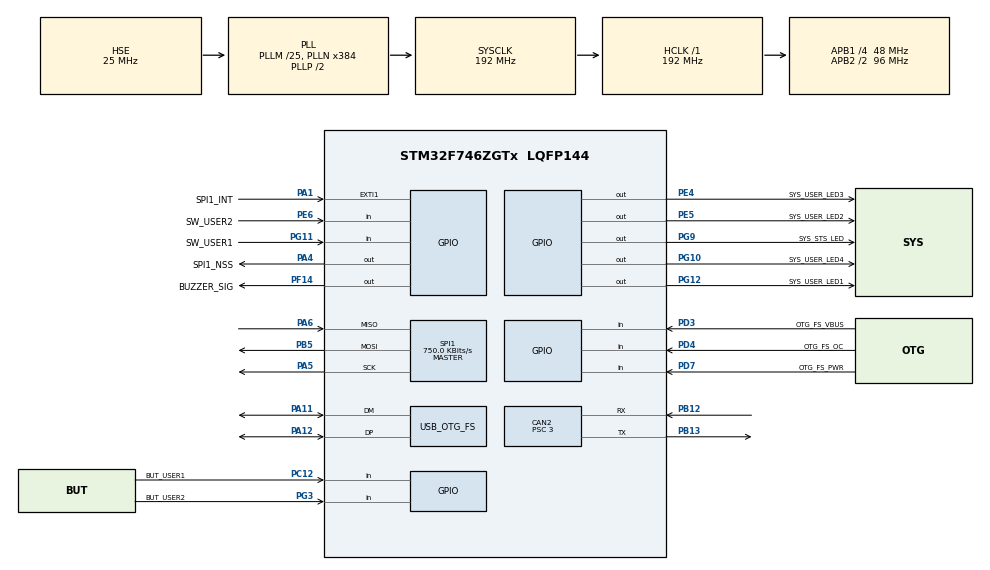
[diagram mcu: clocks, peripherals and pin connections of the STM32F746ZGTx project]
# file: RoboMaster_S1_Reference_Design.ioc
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CAN2.BS1=CAN_BS1_13TQ
CAN2.BS2=CAN_BS2_2TQ
CAN2.CalculateTimeQuantum=62.5
CAN2.Prescaler=3
CAN2.TXFP=ENABLE
Dma.Request0=SPI1_RX
Dma.Request1=SPI1_TX
Dma.SPI1_RX.0.Direction=DMA_PERIPH_TO_MEMORY
Dma.SPI1_RX.0.FIFOMode=DMA_FIFOMODE_ENABLE
Dma.SPI1_RX.0.FIFOThreshold=DMA_FIFO_THRESHOLD_FULL
Dma.SPI1_RX.0.Instance=DMA2_Stream0
Dma.SPI1_RX.0.MemBurst=DMA_MBURST_SINGLE
Dma.SPI1_RX.0.MemDataAlignment=DMA_MDATAALIGN_BYTE
Dma.SPI1_RX.0.MemInc=DMA_MINC_ENABLE
Dma.SPI1_RX.0.Mode=DMA_NORMAL
Dma.SPI1_RX.0.PeriphBurst=DMA_PBURST_SINGLE
Dma.SPI1_RX.0.PeriphDataAlignment=DMA_PDATAALIGN_BYTE
Dma.SPI1_RX.0.PeriphInc=DMA_PINC_DISABLE
Dma.SPI1_RX.0.Priority=DMA_PRIORITY_LOW
Dma.SPI1_TX.1.Direction=DMA_MEMORY_TO_PERIPH
Dma.SPI1_TX.1.FIFOMode=DMA_FIFOMODE_ENABLE
Dma.SPI1_TX.1.FIFOThreshold=DMA_FIFO_THRESHOLD_FULL
Dma.SPI1_TX.1.Instance=DMA2_Stream3
Dma.SPI1_TX.1.MemBurst=DMA_MBURST_SINGLE
Dma.SPI1_TX.1.MemDataAlignment=DMA_MDATAALIGN_BYTE
Dma.SPI1_TX.1.MemInc=DMA_MINC_ENABLE
Dma.SPI1_TX.1.Mode=DMA_NORMAL
Dma.SPI1_TX.1.PeriphBurst=DMA_PBURST_SINGLE
Dma.SPI1_TX.1.PeriphDataAlignment=DMA_PDATAALIGN_BYTE
Dma.SPI1_TX.1.PeriphInc=DMA_PINC_DISABLE
Dma.SPI1_TX.1.Priority=DMA_PRIORITY_LOW
Mcu.Family=STM32F7
Mcu.Name=STM32F746ZGTx
Mcu.Package=LQFP144
NVIC.DMA2_Stream0_IRQn=true\:0\:0\:false\:false\:true\:false\:true
NVIC.DMA2_Stream3_IRQn=true\:0\:0\:false\:false\:true\:false\:true
NVIC.OTG_FS_IRQn=true\:0\:0\:false\:false\:true\:false\:true
NVIC.PriorityGroup=NVIC_PRIORITYGROUP_4
NVIC.TIM1_UP_TIM10_IRQn=true\:0\:0\:false\:false\:true\:false\:true
NVIC.TIM2_IRQn=true\:0\:0\:false\:false\:true\:true\:true
NVIC.TimeBase=TIM1_UP_TIM10_IRQn
NVIC.TimeBaseIP=TIM10
PA1.GPIO_Label=SPI1_INT
PA1.Signal=GPXTI1
PA10.Signal=USB_OTG_FS_ID
PA11.Mode=Device_Only
PA11.Signal=USB_OTG_FS_DM
PA12.Mode=Device_Only
PA12.Signal=USB_OTG_FS_DP
PA13.Mode=Serial_Wire
PA13.Signal=SYS_JTMS-SWDIO
PA14.Mode=Serial_Wire
PA14.Signal=SYS_JTCK-SWCLK
PA15.Signal=SYS_JTDI
PA4.GPIO_Label=SPI1_NSS
PA4.Signal=GPIO_Output
PA5.Mode=Full_Duplex_Master
PA5.Signal=SPI1_SCK
PA6.Mode=Full_Duplex_Master
PA6.Signal=SPI1_MISO
PB12.Mode=Slave
PB12.Signal=CAN2_RX
PB13.Mode=Slave
PB13.Signal=CAN2_TX
PB3.Signal=SYS_JTDO-SWO
PB5.Mode=Full_Duplex_Master
PB5.Signal=SPI1_MOSI
PC12.GPIO_Label=BUT_USER1
PC12.Signal=GPIO_Input
PC14/OSC32_IN.Mode=LSE-External-Oscillator
PC14/OSC32_IN.Signal=RCC_OSC32_IN
PC15/OSC32_OUT.Mode=LSE-External-Oscillator
PC15/OSC32_OUT.Signal=RCC_OSC32_OUT
PD3.GPIO_Label=OTG_FS_VBUS
PD3.Signal=GPIO_Input
PD4.GPIO_Label=OTG_FS_OC
PD4.Signal=GPIO_Input
PD7.GPIO_Label=OTG_FS_PWR
PD7.Signal=GPIO_Input
PE4.GPIO_Label=SYS_USER_LED3
PE4.Signal=GPIO_Output
PE5.GPIO_Label=SYS_USER_LED2
PE5.GPIO_PuPd=GPIO_PULLUP
PE5.Signal=GPIO_Output
PE6.GPIO_Label=SW_USER2
PE6.Signal=GPIO_Input
PF14.GPIO_Label=BUZZER_SIG
PF14.Signal=GPIO_Output
PG10.GPIO_Label=SYS_USER_LED4
PG10.Signal=GPIO_Output
PG11.GPIO_Label=SW_USER1
PG11.Signal=GPIO_Input
PG12.GPIO_Label=SYS_USER_LED1
PG12.GPIO_ModeDefaultOutputPP=GPIO_MODE_OUTPUT_PP
PG12.GPIO_PuPd=GPIO_PULLUP
PG12.Signal=GPIO_Output
PG3.GPIO_Label=BUT_USER2
PG3.Signal=GPIO_Input
PG9.GPIO_Label=SYS_STS_LED
PG9.Signal=GPIO_Output
PH0/OSC_IN.Mode=HSE-External-Oscillator
PH0/OSC_IN.Signal=RCC_OSC_IN
PH1/OSC_OUT.Mode=HSE-External-Oscillator
PH1/OSC_OUT.Signal=RCC_OSC_OUT
ProjectManager.HeapSize=0x200
ProjectManager.StackSize=0x400
ProjectManager.TargetToolchain=STM32CubeIDE
RCC.AHBFreq_Value=192000000
RCC.APB1CLKDivider=RCC_HCLK_DIV4
RCC.APB1Freq_Value=48000000
RCC.APB1TimFreq_Value=96000000
RCC.APB2CLKDivider=RCC_HCLK_DIV2
RCC.APB2Freq_Value=96000000
RCC.APB2TimFreq_Value=192000000
RCC.CortexFreq_Value=192000000
RCC.HCLKFreq_Value=192000000
RCC.HSE_VALUE=25000000
RCC.HSI_VALUE=16000000
RCC.PLLM=25
RCC.PLLN=384
RCC.PLLQ=8
RCC.SYSCLKFreq_VALUE=192000000
RCC.SYSCLKSource=RCC_SYSCLKSOURCE_PLLCLK
RCC.USBFreq_Value=48000000
RCC.VCOOutputFreq_Value=384000000
SPI1.BaudRatePrescaler=SPI_BAUDRATEPRESCALER_128
SPI1.CalculateBaudRate=750.0 KBits/s
SPI1.DataSize=SPI_DATASIZE_8BIT
SPI1.Direction=SPI_DIRECTION_2LINES
SPI1.Mode=SPI_MODE_MASTER
SPI1.NSSPMode=SPI_NSS_PULSE_ENABLE
SPI1.VirtualType=VM_MASTER
TIM2.Period=1000-1
TIM2.Prescaler=96-1
USB_DEVICE.CLASS_NAME_FS=CDC
USB_DEVICE.VirtualMode-CDC_FS=Cdc
USB_DEVICE.VirtualModeFS=Cdc_FS
USB_OTG_FS.VirtualMode=Device_Only
VP_SYS_VS_tim10.Mode=TIM10
VP_TIM2_VS_ClockSourceINT.Mode=Internal
VP_USB_DEVICE_VS_USB_DEVICE_CDC_FS.Mode=CDC_FS
board=custom

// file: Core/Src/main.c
/* USER CODE BEGIN Header */
/**
  ******************************************************************************
  * @file           : main.c
  * @brief          : Main program body
  ******************************************************************************
  * @attention
  *
  * <h2><center>&copy; Copyright (c) 2019 STMicroelectronics.
  * All rights reserved.</center></h2>
  *
  * This software component is licensed by ST under BSD 3-Clause license,
  * the "License"; You may not use this file except in compliance with the
  * License. You may obtain a copy of the License at:
  *                        opensource.org/licenses/BSD-3-Clause
  *
  ******************************************************************************
  */
/* USER CODE END Header */

#include "main.h"
#include "usb_device.h"

/* USER CODE BEGIN Includes */
#include "string.h"
#include "robomaster_s1.h"
#include <pb_encode.h>
#include <pb_decode.h>
#include "command.pb.h"

/* USER CODE END Includes */

/* USER CODE BEGIN PD */
#define APP_RX_DATA_SIZE  2048
/* USER CODE END PD */

CAN_HandleTypeDef hcan2;

SPI_HandleTypeDef hspi1;
DMA_HandleTypeDef hdma_spi1_rx;
DMA_HandleTypeDef hdma_spi1_tx;

TIM_HandleTypeDef htim2;

/* USER CODE BEGIN PV */

uint8_t timer10sec_flag;
uint32_t timer10sec_counter;
uint8_t timer1sec_flag;
uint32_t timer1sec_counter;
uint8_t timer100msec_flag;
uint32_t timer100msec_counter;
uint8_t timer10msec_flag;
uint32_t timer10msec_counter;
uint8_t timer1msec_flag;
uint32_t timer1msec_counter;

CAN_TxHeaderTypeDef TxHeader2;
CAN_RxHeaderTypeDef RxHeader2;
uint8_t TxData2[8];
uint8_t RxData2[8];
uint32_t TxMailbox2;
uint32_t RxMailbox2;

volatile CANRxMsg rx_msg_buffer2[BUFFER_SIZE];
volatile int buffer_rp2;
volatile int buffer_wp2;

const uint8_t can_command_0x201[26][81] = {
#include "command_list.csv"
};

extern uint8_t*  usb_rBuf;
extern int  usb_rBuf_wp;
extern int  usb_rBuf_rp;

double base_odom_yaw;

double gimbal_base_yaw_angle;
double gimbal_map_yaw_angle;
double gimbal_base_pitch_angle;
double gimbal_map_pitch_angle;
/* USER CODE END PV */

void SystemClock_Config(void);
static void MX_GPIO_Init(void);
static void MX_TIM2_Init(void);
static void MX_CAN2_Init(void);
static void MX_SPI1_Init(void);
static void MX_DMA_Init(void);
/* USER CODE BEGIN PFP */
static void CAN_FilterConfig(void);
extern int parseCanData(uint8_t id, uint8_t *in_data, uint8_t in_data_size, uint8_t out_data[], uint8_t *out_data_size);
extern twist parseTwistCommandData(uint8_t* in_data, uint8_t in_data_size);
/* USER CODE END PFP */

int main(void)
{

  /* MCU Configuration--------------------------------------------------------*/

  /* Reset of all peripherals, Initializes the Flash interface and the Systick. */
  HAL_Init();

  /* Configure the system clock */
  SystemClock_Config();

  /* Initialize all configured peripherals */
  MX_GPIO_Init();
  MX_TIM2_Init();
  MX_CAN2_Init();
  MX_SPI1_Init();
  MX_DMA_Init();
  MX_USB_DEVICE_Init();
  /* USER CODE BEGIN 2 */
  HAL_TIM_Base_Start_IT(&htim2);

  /* Configure the CAN peripheral */
  CAN_FilterConfig();

  /*## Start the CAN peripheral ###########################################*/
  if (HAL_CAN_Start(&hcan2) != HAL_OK)
  {
    /* Start Error */
    Error_Handler();
  }

  /*## Activate CAN RX notification #######################################*/
  if (HAL_CAN_ActivateNotification(&hcan2, CAN_IT_RX_FIFO1_MSG_PENDING) != HAL_OK)
  {
    /* Notification Error */
    Error_Handler();
  }
  if (HAL_CAN_ActivateNotification(&hcan2, CAN_IT_RX_FIFO1_FULL) != HAL_OK)
  {
    /* Notification Error */
    Error_Handler();
  }

  /* USER CODE END 2 */

  /* Infinite loop */
  /* USER CODE BEGIN WHILE */
  usb_rBuf_wp = 0;
  usb_rBuf_rp = 0;
  buffer_rp2 = 0;
  buffer_wp2 = 0;
  timer10sec_flag = 0;
  timer10sec_counter = 0;
  timer1sec_flag = 0;
  timer1sec_counter = 0;
  timer100msec_flag = 0;
  timer100msec_counter = 0;
  timer10msec_flag = 0;
  timer10msec_counter = 0;
  timer1msec_flag = 0;
  timer1msec_counter = 0;

  uint8_t buffer[128];
  size_t message_length;
  bool status;

  Command message = Command_init_zero;

  /* Create a stream that will write to our buffer. */
  pb_ostream_t stream = pb_ostream_from_buffer(buffer, sizeof(buffer));

  /* Fill in the lucky number */
  message.type = 1;
  message.id = 0x55;

  /* Now we are ready to encode the message! */
  status = pb_encode(&stream, Command_fields, &message);
  message_length = stream.bytes_written;

  /* Then just check for any errors.. */
  if (!status)
  {
	  printf("Encoding failed: %s\n", PB_GET_ERROR(&stream));

  }

  int led_flag =0;
  while (1)
  {
	    // 1msec TASK
	    if (timer1msec_flag)
	    {
	      timer1msec_flag = 0;
	      // Send Command
	      // Search Cyclic Command
//	      for(int i = 0; i< size)
	    }

	    // 10msec TASK
	    if (timer10msec_flag)
	    {
	      timer10msec_flag = 0;
	    }

	    // 100msec TASK
	    if (timer100msec_flag)
	    {
	      timer100msec_flag = 0;
	    }

	    // 1sec TASK
	    if (timer1sec_flag)
	    {
	      timer1sec_flag = 0;
	      if(led_flag){
		      HAL_GPIO_WritePin(GPIOG, GPIO_PIN_12, GPIO_PIN_SET); // High
		      HAL_GPIO_WritePin(GPIOE, GPIO_PIN_5, GPIO_PIN_SET); // High
		      led_flag = 0;
	      }else{
		      HAL_GPIO_WritePin(GPIOG, GPIO_PIN_12, GPIO_PIN_RESET); // Low
		      HAL_GPIO_WritePin(GPIOE, GPIO_PIN_5, GPIO_PIN_RESET); // Low
		      led_flag = 1;
	      }
	    }

	    // 10sec TASK
	    if (timer10sec_flag)
	    {
	      timer10sec_flag = 0;
	    }

	    uint8_t tmp_usb_rBuf[APP_RX_DATA_SIZE];
	    int idx = 0;
	    while (usb_rBuf_rp != usb_rBuf_wp)
	    {
	    	tmp_usb_rBuf[idx] = usb_rBuf[usb_rBuf_rp];
	    	usb_rBuf_rp++;
	    	idx++;
	    }
		twist command_twist = parseTwistCommandData(tmp_usb_rBuf, TWIST_COMMAND_SIZE);

		// Receive CAN Data
	    if (buffer_rp2 != buffer_wp2)
	    {
	      uint8_t receive_data[BUFFER_SIZE];
	      uint8_t receive_data_size = 0;
	      CANRxMsg msg = rx_msg_buffer2[buffer_rp2];
	      int ret = parseCanData(msg.can_id, msg.data, msg.dlc, receive_data, &receive_data_size);
	      buffer_rp2++;
	      buffer_rp2 %= BUFFER_SIZE;
	      if (ret)
	      {
	    	    switch(msg.can_id){
	    	      case ID_0x201:
	    			break;
	    	      case ID_0x202:
	    	          // From Motion Controller
	    	          if(receive_data[1] == 0x3D &&
	    	        	 receive_data[4] == 0x03 &&
						 receive_data[5] == 0x09)
	    	          {
	    	            int flag = (receive_data[24] >> 7) & 0x01;
	    	            base_odom_yaw = ((((uint16_t)receive_data[24]) << 8) | (((uint16_t)receive_data[23]) << 0));
	    	            if (flag == 0)
	    	            {
	    	              int shift = (0x86 - ((receive_data[24] << 1) | (receive_data[23] >> 7)));
	    	              base_odom_yaw = ((1 << 7) | receive_data[23]) >> shift;
	    	              base_odom_yaw *= -1;
	    	            }
	    	            else
	    	            {
	    	              int shift = (0x186 - ((receive_data[24] << 1) | (receive_data[23] >> 7)));
	    	              base_odom_yaw = ((1 << 7) | receive_data[23]) >> shift;
	    	            }
	    	            if (receive_data[24] == 0 && receive_data[23] == 0)
	    	            {
	    	              base_odom_yaw = 0;
	    	            }
	    	          }
	    	          break;
	    	        case ID_0x203:
	    	          // From Gimbal
	    	          if (receive_data[1] == 0x11 &&
	    	        	  receive_data[4] == 0x04 &&
						  receive_data[5] == 0x03)
	    	          {
	    	            // Yaw Angle
	    	            uint16_t data = receive_data[12];
	    	            data = (data << 8) | receive_data[11];
	    	            gimbal_base_yaw_angle = -(int16_t)(data) / 10.0;
	    	            data = receive_data[14];
	    	            data = (data << 8) | receive_data[13];
	    	            gimbal_map_yaw_angle = -(int16_t)(data) / 100.0;
	    	          }
	    	          if (receive_data[1] == 0x16 &&
	    	        	  receive_data[4] == 0x04 &&
						  receive_data[5] == 0x09)
	    	          {
	    	            // Pitch Angle
	    	            uint32_t data = receive_data[14];
	    	            data = (data << 8) | receive_data[13];
	    	            data = (data << 8) | receive_data[12];
	    	            data = (data << 8) | receive_data[11];
	    	            gimbal_map_pitch_angle = (int32_t)(data) / 20000000.0 * 30.0;
	    	            data = receive_data[18];
	    	            data = (data << 8) | receive_data[17];
	    	            data = (data << 8) | receive_data[16];
	    	            data = (data << 8) | receive_data[15];
	    	            gimbal_base_pitch_angle = (int32_t)(data) / 20000000.0 * 30.0;
	    	          }
	    	          break;
	    			break;
	    	      case ID_0x204:
	    	        //if(out_data[4] ==0x09 && (out_data[5] ==0x17 || out_data[5] ==0x18))
	    	        // {
	    	        // for(uint8_t i = 0; i < out_data_size; i++){
	    	        //   printf("0x%02X,",out_data[i]);
	    	        // }
	    	        // printf("\n");
	    	        // }
	    	      break;
	    	      case ID_0x211:
	    	      case ID_0x212:
	    	      case ID_0x213:
	    	      case ID_0x214:
	    	      case ID_0x215:
	    	      case ID_0x216:
	    	      //   {
	    	      //   for(uint8_t i = 0; i < out_data_size; i++){
	    	      //     printf("0x%02X,",out_data[i]);
	    	      //   }
	    	      //   printf("\n");
	    	      //   }
	    	      break;
	    	      default:
	    	      break;
	    	    }

	      }
	    }
    /* USER CODE END WHILE */

  }
}

void SystemClock_Config(void)
{
  RCC_OscInitTypeDef RCC_OscInitStruct = {0};
  RCC_ClkInitTypeDef RCC_ClkInitStruct = {0};
  RCC_PeriphCLKInitTypeDef PeriphClkInitStruct = {0};

  /** Configure LSE Drive Capability
  */
  HAL_PWR_EnableBkUpAccess();
  /** Configure the main internal regulator output voltage
  */
  __HAL_RCC_PWR_CLK_ENABLE();
  __HAL_PWR_VOLTAGESCALING_CONFIG(PWR_REGULATOR_VOLTAGE_SCALE1);
  /** Initializes the CPU, AHB and APB busses clocks
  */
  RCC_OscInitStruct.OscillatorType = RCC_OSCILLATORTYPE_HSE;
  RCC_OscInitStruct.HSEState = RCC_HSE_ON;
  RCC_OscInitStruct.PLL.PLLState = RCC_PLL_ON;
  RCC_OscInitStruct.PLL.PLLSource = RCC_PLLSOURCE_HSE;
  RCC_OscInitStruct.PLL.PLLM = 25;
  RCC_OscInitStruct.PLL.PLLN = 384;
  RCC_OscInitStruct.PLL.PLLP = RCC_PLLP_DIV2;
  RCC_OscInitStruct.PLL.PLLQ = 8;
  if (HAL_RCC_OscConfig(&RCC_OscInitStruct) != HAL_OK)
  {
    Error_Handler();
  }
  /** Activate the Over-Drive mode
  */
  if (HAL_PWREx_EnableOverDrive() != HAL_OK)
  {
    Error_Handler();
  }
  /** Initializes the CPU, AHB and APB busses clocks
  */
  RCC_ClkInitStruct.ClockType = RCC_CLOCKTYPE_HCLK|RCC_CLOCKTYPE_SYSCLK
                              |RCC_CLOCKTYPE_PCLK1|RCC_CLOCKTYPE_PCLK2;
  RCC_ClkInitStruct.SYSCLKSource = RCC_SYSCLKSOURCE_PLLCLK;
  RCC_ClkInitStruct.AHBCLKDivider = RCC_SYSCLK_DIV1;
  RCC_ClkInitStruct.APB1CLKDivider = RCC_HCLK_DIV4;
  RCC_ClkInitStruct.APB2CLKDivider = RCC_HCLK_DIV2;

  if (HAL_RCC_ClockConfig(&RCC_ClkInitStruct, FLASH_LATENCY_6) != HAL_OK)
  {
    Error_Handler();
  }
  PeriphClkInitStruct.PeriphClockSelection = RCC_PERIPHCLK_CLK48;
  PeriphClkInitStruct.Clk48ClockSelection = RCC_CLK48SOURCE_PLL;
  if (HAL_RCCEx_PeriphCLKConfig(&PeriphClkInitStruct) != HAL_OK)
  {
    Error_Handler();
  }
}

static void MX_CAN2_Init(void)
{

  hcan2.Instance = CAN2;
  hcan2.Init.Prescaler = 3;
  hcan2.Init.Mode = CAN_MODE_NORMAL;
  hcan2.Init.SyncJumpWidth = CAN_SJW_1TQ;
  hcan2.Init.TimeSeg1 = CAN_BS1_13TQ;
  hcan2.Init.TimeSeg2 = CAN_BS2_2TQ;
  hcan2.Init.TimeTriggeredMode = DISABLE;
  hcan2.Init.AutoBusOff = DISABLE;
  hcan2.Init.AutoWakeUp = DISABLE;
  hcan2.Init.AutoRetransmission = DISABLE;
  hcan2.Init.ReceiveFifoLocked = DISABLE;
  hcan2.Init.TransmitFifoPriority = ENABLE;
  if (HAL_CAN_Init(&hcan2) != HAL_OK)
  {
    Error_Handler();
  }

}

static void MX_SPI1_Init(void)
{

  /* SPI1 parameter configuration*/
  hspi1.Instance = SPI1;
  hspi1.Init.Mode = SPI_MODE_MASTER;
  hspi1.Init.Direction = SPI_DIRECTION_2LINES;
  hspi1.Init.DataSize = SPI_DATASIZE_8BIT;
  hspi1.Init.CLKPolarity = SPI_POLARITY_LOW;
  hspi1.Init.CLKPhase = SPI_PHASE_1EDGE;
  hspi1.Init.NSS = SPI_NSS_SOFT;
  hspi1.Init.BaudRatePrescaler = SPI_BAUDRATEPRESCALER_128;
  hspi1.Init.FirstBit = SPI_FIRSTBIT_MSB;
  hspi1.Init.TIMode = SPI_TIMODE_DISABLE;
  hspi1.Init.CRCCalculation = SPI_CRCCALCULATION_DISABLE;
  hspi1.Init.CRCPolynomial = 7;
  hspi1.Init.CRCLength = SPI_CRC_LENGTH_DATASIZE;
  hspi1.Init.NSSPMode = SPI_NSS_PULSE_ENABLE;
  if (HAL_SPI_Init(&hspi1) != HAL_OK)
  {
    Error_Handler();
  }

}

static void MX_TIM2_Init(void)
{

  TIM_ClockConfigTypeDef sClockSourceConfig = {0};
  TIM_MasterConfigTypeDef sMasterConfig = {0};

  htim2.Instance = TIM2;
  htim2.Init.Prescaler = 96-1;
  htim2.Init.CounterMode = TIM_COUNTERMODE_UP;
  htim2.Init.Period = 1000-1;
  htim2.Init.ClockDivision = TIM_CLOCKDIVISION_DIV1;
  htim2.Init.AutoReloadPreload = TIM_AUTORELOAD_PRELOAD_DISABLE;
  if (HAL_TIM_Base_Init(&htim2) != HAL_OK)
  {
    Error_Handler();
  }
  sClockSourceConfig.ClockSource = TIM_CLOCKSOURCE_INTERNAL;
  if (HAL_TIM_ConfigClockSource(&htim2, &sClockSourceConfig) != HAL_OK)
  {
    Error_Handler();
  }
  sMasterConfig.MasterOutputTrigger = TIM_TRGO_RESET;
  sMasterConfig.MasterSlaveMode = TIM_MASTERSLAVEMODE_DISABLE;
  if (HAL_TIMEx_MasterConfigSynchronization(&htim2, &sMasterConfig) != HAL_OK)
  {
    Error_Handler();
  }

}

static void MX_DMA_Init(void)
{

  /* DMA controller clock enable */
  __HAL_RCC_DMA2_CLK_ENABLE();

  /* DMA interrupt init */
  /* DMA2_Stream0_IRQn interrupt configuration */
  HAL_NVIC_SetPriority(DMA2_Stream0_IRQn, 0, 0);
  HAL_NVIC_EnableIRQ(DMA2_Stream0_IRQn);
  /* DMA2_Stream3_IRQn interrupt configuration */
  HAL_NVIC_SetPriority(DMA2_Stream3_IRQn, 0, 0);
  HAL_NVIC_EnableIRQ(DMA2_Stream3_IRQn);

}

static void MX_GPIO_Init(void)
{
  GPIO_InitTypeDef GPIO_InitStruct = {0};

  /* GPIO Ports Clock Enable */
  __HAL_RCC_GPIOE_CLK_ENABLE();
  __HAL_RCC_GPIOC_CLK_ENABLE();
  __HAL_RCC_GPIOH_CLK_ENABLE();
  __HAL_RCC_GPIOA_CLK_ENABLE();
  __HAL_RCC_GPIOF_CLK_ENABLE();
  __HAL_RCC_GPIOB_CLK_ENABLE();
  __HAL_RCC_GPIOG_CLK_ENABLE();
  __HAL_RCC_GPIOD_CLK_ENABLE();

  /*Configure GPIO pin Output Level */
  HAL_GPIO_WritePin(GPIOE, SYS_USER_LED3_Pin|SYS_USER_LED2_Pin, GPIO_PIN_RESET);

  /*Configure GPIO pin Output Level */
  HAL_GPIO_WritePin(SPI1_NSS_GPIO_Port, SPI1_NSS_Pin, GPIO_PIN_RESET);

  /*Configure GPIO pin Output Level */
  HAL_GPIO_WritePin(BUZZER_SIG_GPIO_Port, BUZZER_SIG_Pin, GPIO_PIN_RESET);

  /*Configure GPIO pin Output Level */
  HAL_GPIO_WritePin(GPIOG, SYS_STS_LED_Pin|SYS_USER_LED4_Pin|SYS_USER_LED1_Pin, GPIO_PIN_RESET);

  /*Configure GPIO pin : SYS_USER_LED3_Pin */
  GPIO_InitStruct.Pin = SYS_USER_LED3_Pin;
  GPIO_InitStruct.Mode = GPIO_MODE_OUTPUT_PP;
  GPIO_InitStruct.Pull = GPIO_NOPULL;
  GPIO_InitStruct.Speed = GPIO_SPEED_FREQ_LOW;
  HAL_GPIO_Init(SYS_USER_LED3_GPIO_Port, &GPIO_InitStruct);

  /*Configure GPIO pin : SYS_USER_LED2_Pin */
  GPIO_InitStruct.Pin = SYS_USER_LED2_Pin;
  GPIO_InitStruct.Mode = GPIO_MODE_OUTPUT_PP;
  GPIO_InitStruct.Pull = GPIO_PULLUP;
  GPIO_InitStruct.Speed = GPIO_SPEED_FREQ_LOW;
  HAL_GPIO_Init(SYS_USER_LED2_GPIO_Port, &GPIO_InitStruct);

  /*Configure GPIO pin : SW_USER2_Pin */
  GPIO_InitStruct.Pin = SW_USER2_Pin;
  GPIO_InitStruct.Mode = GPIO_MODE_INPUT;
  GPIO_InitStruct.Pull = GPIO_NOPULL;
  HAL_GPIO_Init(SW_USER2_GPIO_Port, &GPIO_InitStruct);

  /*Configure GPIO pin : SPI1_INT_Pin */
  GPIO_InitStruct.Pin = SPI1_INT_Pin;
  GPIO_InitStruct.Mode = GPIO_MODE_IT_RISING;
  GPIO_InitStruct.Pull = GPIO_NOPULL;
  HAL_GPIO_Init(SPI1_INT_GPIO_Port, &GPIO_InitStruct);

  /*Configure GPIO pin : SPI1_NSS_Pin */
  GPIO_InitStruct.Pin = SPI1_NSS_Pin;
  GPIO_InitStruct.Mode = GPIO_MODE_OUTPUT_PP;
  GPIO_InitStruct.Pull = GPIO_NOPULL;
  GPIO_InitStruct.Speed = GPIO_SPEED_FREQ_LOW;
  HAL_GPIO_Init(SPI1_NSS_GPIO_Port, &GPIO_InitStruct);

  /*Configure GPIO pin : BUZZER_SIG_Pin */
  GPIO_InitStruct.Pin = BUZZER_SIG_Pin;
  GPIO_InitStruct.Mode = GPIO_MODE_OUTPUT_PP;
  GPIO_InitStruct.Pull = GPIO_NOPULL;
  GPIO_InitStruct.Speed = GPIO_SPEED_FREQ_LOW;
  HAL_GPIO_Init(BUZZER_SIG_GPIO_Port, &GPIO_InitStruct);

  /*Configure GPIO pins : BUT_USER2_Pin SW_USER1_Pin */
  GPIO_InitStruct.Pin = BUT_USER2_Pin|SW_USER1_Pin;
  GPIO_InitStruct.Mode = GPIO_MODE_INPUT;
  GPIO_InitStruct.Pull = GPIO_NOPULL;
  HAL_GPIO_Init(GPIOG, &GPIO_InitStruct);

  /*Configure GPIO pin : BUT_USER1_Pin */
  GPIO_InitStruct.Pin = BUT_USER1_Pin;
  GPIO_InitStruct.Mode = GPIO_MODE_INPUT;
  GPIO_InitStruct.Pull = GPIO_NOPULL;
  HAL_GPIO_Init(BUT_USER1_GPIO_Port, &GPIO_InitStruct);

  /*Configure GPIO pins : OTG_FS_VBUS_Pin OTG_FS_OC_Pin OTG_FS_PWR_Pin */
  GPIO_InitStruct.Pin = OTG_FS_VBUS_Pin|OTG_FS_OC_Pin|OTG_FS_PWR_Pin;
  GPIO_InitStruct.Mode = GPIO_MODE_INPUT;
  GPIO_InitStruct.Pull = GPIO_NOPULL;
  HAL_GPIO_Init(GPIOD, &GPIO_InitStruct);

  /*Configure GPIO pins : SYS_STS_LED_Pin SYS_USER_LED4_Pin */
  GPIO_InitStruct.Pin = SYS_STS_LED_Pin|SYS_USER_LED4_Pin;
  GPIO_InitStruct.Mode = GPIO_MODE_OUTPUT_PP;
  GPIO_InitStruct.Pull = GPIO_NOPULL;
  GPIO_InitStruct.Speed = GPIO_SPEED_FREQ_LOW;
  HAL_GPIO_Init(GPIOG, &GPIO_InitStruct);

  /*Configure GPIO pin : SYS_USER_LED1_Pin */
  GPIO_InitStruct.Pin = SYS_USER_LED1_Pin;
  GPIO_InitStruct.Mode = GPIO_MODE_OUTPUT_PP;
  GPIO_InitStruct.Pull = GPIO_PULLUP;
  GPIO_InitStruct.Speed = GPIO_SPEED_FREQ_LOW;
  HAL_GPIO_Init(SYS_USER_LED1_GPIO_Port, &GPIO_InitStruct);

}

/* USER CODE BEGIN 4 */

/**
  * @brief  Configures the CAN.
  * @param  None
  * @retval None
  */
static void CAN_FilterConfig(void)
{
  CAN_FilterTypeDef sFilterConfig2;

  /*## Configure the CAN Filter ###########################################*/
  sFilterConfig2.FilterBank = 14; //ID 0-13 for CAN1, 14+ is CAN2
  sFilterConfig2.FilterMode = CAN_FILTERMODE_IDMASK;
  sFilterConfig2.FilterScale = CAN_FILTERSCALE_32BIT;
  sFilterConfig2.FilterIdHigh = 0x0000;
  sFilterConfig2.FilterIdLow = 0x0000;
  sFilterConfig2.FilterMaskIdHigh = 0x0000;
  sFilterConfig2.FilterMaskIdLow = 0x0000;
  sFilterConfig2.FilterFIFOAssignment = CAN_RX_FIFO1;
  sFilterConfig2.FilterActivation = ENABLE;
  sFilterConfig2.SlaveStartFilterBank = 14;

  if (HAL_CAN_ConfigFilter(&hcan2, &sFilterConfig2) != HAL_OK)
  {
    /* Filter configuration Error */
    Error_Handler();
  }
}

/**
  * @brief  Rx Fifo 1 message pending callback
  * @param  hcan: pointer to a CAN_HandleTypeDef structure that contains
  *         the configuration information for the specified CAN.
  * @retval None
  */
void HAL_CAN_RxFifo1MsgPendingCallback(CAN_HandleTypeDef *hcan)
{
  /* Get RX message */
  if (HAL_CAN_GetRxMessage(hcan, CAN_RX_FIFO1, &RxHeader2, RxData2) == HAL_OK)
  {
    if (RxHeader2.StdId != 0x201)
    {
      CANRxMsg msg;
      switch (RxHeader2.StdId)
      {
      case 0x202:
        msg.can_id = ID_0x202;
        break;
      case 0x203:
        msg.can_id = ID_0x203;
        break;
      case 0x204:
        msg.can_id = ID_0x204;
        break;
      case 0x211:
        msg.can_id = ID_0x211;
        break;
      case 0x212:
        msg.can_id = ID_0x212;
        break;
      case 0x213:
        msg.can_id = ID_0x213;
        break;
      case 0x214:
        msg.can_id = ID_0x214;
        break;
      case 0x215:
        msg.can_id = ID_0x215;
        break;
      case 0x216:
        msg.can_id = ID_0x216;
        break;
      }
      msg.dlc = RxHeader2.DLC;
      memcpy(msg.data, RxData2, RxHeader2.DLC);
      rx_msg_buffer2[buffer_wp2] = msg;
      buffer_wp2++;
      buffer_wp2 %= BUFFER_SIZE;
    }
  }
}

void HAL_CAN_RxFifo1FullCallback(CAN_HandleTypeDef *hcan)
{
  /* Get RX message */
  if (HAL_CAN_GetRxMessage(hcan, CAN_RX_FIFO1, &RxHeader2, RxData2) == HAL_OK)
  {
    if (RxHeader2.StdId != 0x201)
    {
      CANRxMsg msg;
      switch (RxHeader2.StdId)
      {
      case 0x202:
        msg.can_id = ID_0x202;
        break;
      case 0x203:
        msg.can_id = ID_0x203;
        break;
      case 0x204:
        msg.can_id = ID_0x204;
        break;
      case 0x211:
        msg.can_id = ID_0x211;
        break;
      case 0x212:
        msg.can_id = ID_0x212;
        break;
      case 0x213:
        msg.can_id = ID_0x213;
        break;
      case 0x214:
        msg.can_id = ID_0x214;
        break;
      case 0x215:
        msg.can_id = ID_0x215;
        break;
      case 0x216:
        msg.can_id = ID_0x216;
        break;
      }
      msg.dlc = RxHeader2.DLC;
      memcpy(msg.data, RxData2, RxHeader2.DLC);
      rx_msg_buffer2[buffer_wp2] = msg;
      buffer_wp2++;
      buffer_wp2 %= BUFFER_SIZE;
    }
  }
}

/* USER CODE END 4 */

void HAL_TIM_PeriodElapsedCallback(TIM_HandleTypeDef *htim)
{
  if (htim->Instance == TIM10) {
    HAL_IncTick();
  }
  /* USER CODE BEGIN Callback 1 */

  if (htim == &htim2)
  {
    // 1msec Timer
    timer1msec_counter++;
    timer1msec_flag = 1;

    // 10sec conter
    if (timer1msec_counter % 10000 == 0)
    {
      timer10sec_counter++;
      timer10sec_flag = 1;
    }

    // 1sec conter
    if (timer1msec_counter % 1000 == 0)
    {
      timer1sec_counter++;
      timer1sec_flag = 1;
    }

    // 100msec counter
    if (timer1msec_counter % 100 == 0)
    {
      timer100msec_counter++;
      timer100msec_flag = 1;
    }

    // 10msec counter
    if (timer1msec_counter % 10 == 0)
    {
      timer10msec_counter++;
      timer10msec_flag = 1;
    }
  }
  /* USER CODE END Callback 1 */
}

void Error_Handler(void)
{
}

/************************ (C) COPYRIGHT STMicroelectronics *****END OF FILE****/
